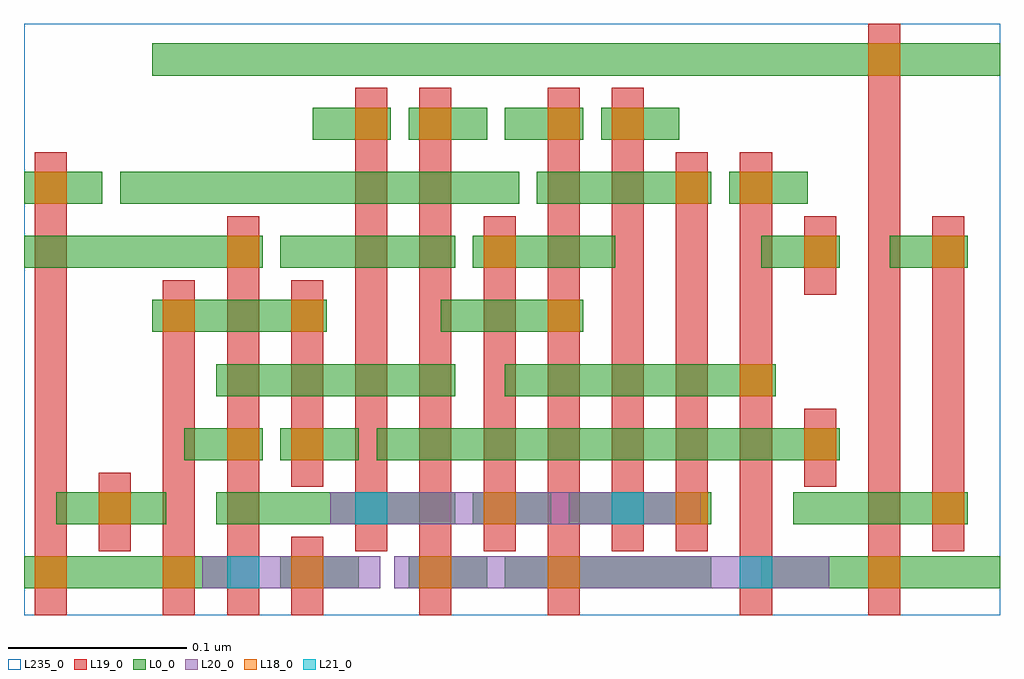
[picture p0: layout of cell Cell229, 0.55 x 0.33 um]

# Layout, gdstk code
import gdstk
lib = gdstk.Library(unit=1e-6, precision=2.5e-10)
def R(c, l, rs):  # rectangles x0, y0, x1, y1
    for r in rs: c.add(gdstk.rectangle(r[:2], r[2:], *l))
def A(c, l, x, y, w, h, nx, ny, dx, dy):  # array of equal rectangles
    R(c, l, [(x+i*dx, y+j*dy, x+i*dx+w, y+j*dy+h) for i in range(nx) for j in range(ny)])
L0_0 = (0, 0)
L18_0 = (18, 0)
L19_0 = (19, 0)
L20_0 = (20, 0)
L21_0 = (21, 0)
L235_0 = (235, 0)

cell229 = lib.new_cell('Cell229')
A(cell229, L0_0, 0.166, 0.251, 0.044, 0.018, 4, 1, 0.054, 0)
R(cell229, L0_0, [(0.004,-0.001,0.12,0.017), (0.148,-0.001,0.192,0.017), (0.22,-0.001,0.264,0.017), (0.274,-0.001,0.39,0.017), (0.418,-0.001,0.552,0.017), (0.022,0.035,0.084,0.053), (0.112,0.035,0.246,0.053), (0.256,0.035,0.3,0.053), (0.31,0.035,0.39,0.053), (0.436,0.035,0.534,0.053), (0.094,0.071,0.138,0.089), (0.148,0.071,0.192,0.089), (0.202,0.071,0.462,0.089), (0.112,0.107,0.246,0.125), (0.274,0.107,0.426,0.125), (0.076,0.143,0.174,0.161), (0.238,0.143,0.318,0.161), (0.004,0.179,0.138,0.197), (0.148,0.179,0.246,0.197), (0.256,0.179,0.336,0.197), (0.418,0.179,0.462,0.197), (0.49,0.179,0.534,0.197), (0.004,0.215,0.048,0.233), (0.058,0.215,0.282,0.233), (0.292,0.215,0.39,0.233), (0.4,0.215,0.444,0.233), (0.076,0.287,0.552,0.305)])
A(cell229, L18_0, 0.01, -0.001, 0.018, 0.018, 5, 1, 0.072, 0)
R(cell229, L18_0, [(0.478,-0.001,0.496,0.017), (0.046,0.035,0.064,0.053), (0.262,0.035,0.28,0.053), (0.37,0.035,0.388,0.053), (0.514,0.035,0.532,0.053), (0.118,0.071,0.136,0.089), (0.154,0.071,0.172,0.089), (0.442,0.071,0.46,0.089), (0.406,0.107,0.424,0.125), (0.082,0.143,0.1,0.161), (0.154,0.143,0.172,0.161), (0.298,0.143,0.316,0.161), (0.118,0.179,0.136,0.197), (0.262,0.179,0.28,0.197), (0.442,0.179,0.46,0.197), (0.514,0.179,0.532,0.197), (0.01,0.215,0.028,0.233), (0.37,0.215,0.388,0.233), (0.406,0.215,0.424,0.233), (0.19,0.251,0.208,0.269), (0.226,0.251,0.244,0.269), (0.298,0.251,0.316,0.269), (0.334,0.251,0.352,0.269), (0.478,0.287,0.496,0.305)])
R(cell229, L19_0, [(0.01,-0.016,0.028,0.244), (0.082,-0.016,0.1,0.172), (0.118,-0.016,0.136,0.208), (0.154,-0.016,0.172,0.028), (0.226,-0.016,0.244,0.28), (0.298,-0.016,0.316,0.28), (0.406,-0.016,0.424,0.244), (0.478,-0.016,0.496,0.316), (0.046,0.02,0.064,0.064), (0.19,0.02,0.208,0.28), (0.262,0.02,0.28,0.208), (0.334,0.02,0.352,0.28), (0.37,0.02,0.388,0.244), (0.514,0.02,0.532,0.208), (0.154,0.056,0.172,0.172), (0.442,0.056,0.46,0.1), (0.442,0.164,0.46,0.208)])
R(cell229, L20_0, [(0.104,-0.001,0.204,0.017), (0.212,-0.001,0.456,0.017), (0.176,0.035,0.384,0.053)])
R(cell229, L21_0, [(0.118,-0.001,0.136,0.017), (0.406,-0.001,0.424,0.017), (0.19,0.035,0.208,0.053), (0.334,0.035,0.352,0.053)])
R(cell229, L235_0, [(0.004,-0.016,0.552,0.316)])

lib.write_gds('Cell229.gds')
